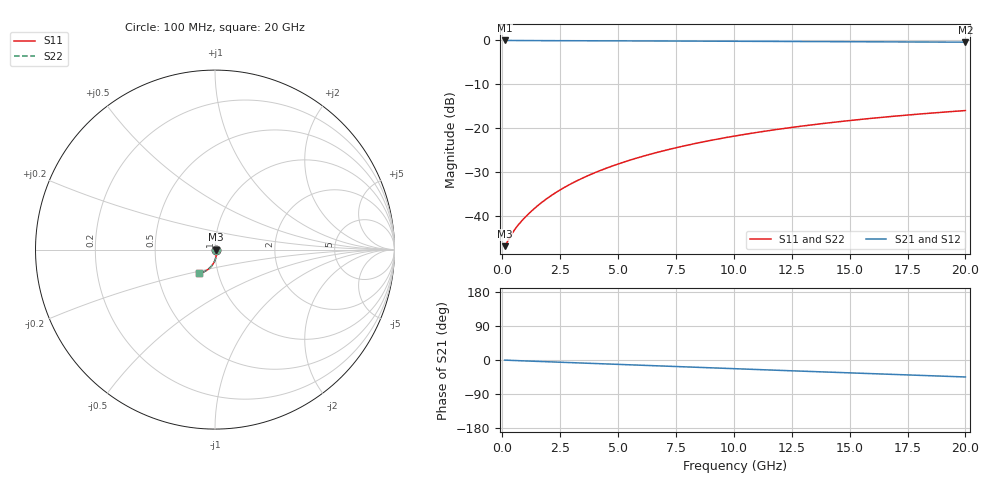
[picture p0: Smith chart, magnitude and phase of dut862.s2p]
! Touchstone file exported from HFSS 2026.1.0
!  File:  C:/ffzhzh/LocalFiles/Ansys_Project_Files/temp_train_BSMRDL_862_1783170744_55132.aedt
!  Generated:  09:13:47 PM Jul  4, 2026
!  Design:  BSMRDL
!  Project:  temp_train_BSMRDL_862_1783170744_55132
! Variables:
!  h_bsmrdl = 3.62um
!  h_ox = 20um
!  h_rdl = 5um
!  h_sub = 80um
!  h_tmrdl = 5um
!  h_tsv = 80um
!  h_via = 3um
!  l_bsmrdl = 784.7um
!  l_sub = 1184.7um
!  l_tmrdl = 200um
!  m_sub = 200um
!  pitch = 20.04um
!  r_tsv = 6um
!  s_tmrdl = 10um
!  w_bsmrdl = 17.98um
!  w_sub = 500um
!  w_tmrdl = 12um
!  x_tsv_center1 = 206um
!  x_tsv_center2 = 1008.68um
!  x_tsv_center3 = 1220.68um
!  x_tsv_center4 = 2023.36um
!  x_tsv_center5 = 2235.36um
!  x_tsv_center6 = 3038.04um
# GHz S MA R 50.000000
! Terminal data exported
! Port[1] = BSM_RDL1_1_T1
! Port[2] = BSM_RDL1_1_T2
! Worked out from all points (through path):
!   200 points, 100 MHz to 20 GHz, reference 50 ohm
!   highest |S21| = -0.04 dB at 100 MHz (marker M1); lowest = -0.4 dB at 20 GHz (marker M2)
!   group delay of S21, straight-line fit = 6.2 ps
!   lowest |S11| = -46.9 dB at 100 MHz (marker M3), VSWR 1.01, Z = 50.5 + j0.0146 ohm
!   |S11| at or under -10 dB: start of sweep to end of sweep
!   |S22| runs from -46.9 to -16.0 dB; largest |S21 - S12| = 2.7e-15
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0.1  0.004526 1.8  0.9955 -0.3  0.9955 -0.3  0.004526 1.8
! Gamma 0 0 0 0
! Port Impedance 50 0 50 0
0.2  0.004973 1.3  0.995 -0.6  0.995 -0.6  0.004973 1.3
0.4  0.006164 -6.3  0.9939 -1.1  0.9939 -1.1  0.006164 -6.3
0.5  0.006773 -11.5  0.9933 -1.3  0.9933 -1.3  0.006772 -11.5
0.7  0.00796 -21.7  0.9925 -1.8  0.9925 -1.8  0.00796 -21.7
1  0.009745 -34.5  0.9917 -2.5  0.9917 -2.5  0.009744 -34.5
1.4  0.01225 -46.8  0.991 -3.4  0.991 -3.4  0.01224 -46.8
1.9  0.01558 -56.9  0.9904 -4.5  0.9904 -4.5  0.01557 -57.0
2.4  0.01908 -63.8  0.9898 -5.7  0.9898 -5.7  0.01908 -63.8
2.9  0.02273 -68.8  0.9891 -6.9  0.9891 -6.9  0.02272 -68.8
3.5  0.02723 -73.3  0.9882 -8.2  0.9882 -8.2  0.02723 -73.3
4.2  0.03265 -77.4  0.987 -9.9  0.987 -9.9  0.03265 -77.4
5  0.03902 -81.1  0.9855 -11.7  0.9855 -11.7  0.03901 -81.2
5.9  0.04637 -84.7  0.9837 -13.8  0.9837 -13.8  0.04636 -84.7
6.8  0.05385 -87.9  0.9818 -15.8  0.9818 -15.8  0.05384 -87.9
8.4  0.06737 -93.0  0.9783 -19.4  0.9783 -19.4  0.06735 -93.0
10.1  0.08179 -97.9  0.9745 -23.2  0.9745 -23.2  0.08176 -98.0
11.7  0.09522 -102.4  0.9709 -26.7  0.9709 -26.7  0.09519 -102.5
13.4  0.1092 -106.9  0.967 -30.5  0.967 -30.5  0.1092 -107.0
15  0.1219 -111.1  0.9633 -34.0  0.9633 -34.0  0.1219 -111.2
16.7  0.135 -115.3  0.9593 -37.7  0.9593 -37.7  0.1349 -115.4
20  0.1584 -123.3  0.9516 -44.8  0.9516 -44.8  0.1584 -123.5
